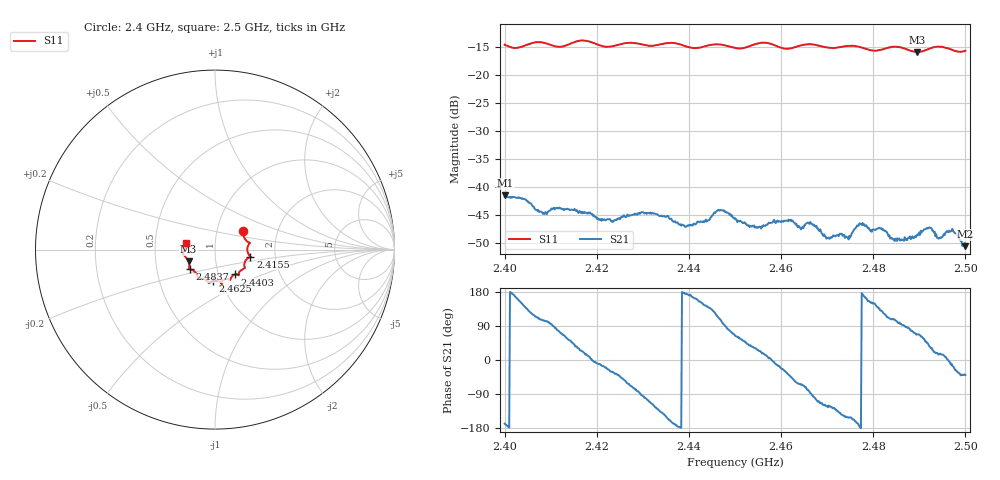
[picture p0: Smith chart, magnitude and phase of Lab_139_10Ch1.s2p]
# Hz S RI R 50
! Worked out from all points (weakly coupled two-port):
!   601 points, 2.4 GHz to 2.5 GHz, reference 50 ohm
!   highest |S21| = -41.43 dB at 2.4002 GHz (marker M1); lowest = -50.5 dB at 2.5 GHz (marker M2)
!   lowest |S11| = -15.8 dB at 2.4895 GHz (marker M3), VSWR 1.39, Z = 36.9 - j4.98 ohm
!   |S11| at or under -10 dB: start of sweep to end of sweep
!   S12 and S22 are empty: the file has one direction only
!   S11 on the Smith chart (normalised r, x): 2.4 GHz: 1.33, +0.29; 2.4155 GHz: 1.49, -0.12; 2.4403 GHz: 1.20, -0.34; 2.4625 GHz: 0.92, -0.33; 2.4837 GHz: 0.74, -0.17; 2.5 GHz: 0.72, +0.06
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2.4e9  0.1562 0.1047  -0.00805 -0.00172  0 0  0 0
2.400167e9  0.156 0.1024  -0.00835 -0.00149  0 0  0 0
2.408667e9  0.1923 0.0344  -0.00132 0.00565  0 0  0 0
2.4155e9  0.1971 -0.0387  0.00498 0.00364  0 0  0 0
2.416667e9  0.2008 -0.0424  0.00551 0.0025  0 0  0 0
2.4235e9  0.1634 -0.0814  0.00416 -0.00263  0 0  0 0
2.433333e9  0.1323 -0.1333  -0.00375 -0.00425  0 0  0 0
2.440333e9  0.1106 -0.1385  -0.00454 0.000645  0 0  0 0
2.446667e9  0.0844 -0.1692  -0.002 0.00589  0 0  0 0
2.45e9  0.0639 -0.164  0.00226 0.0048  0 0  0 0
2.455167e9  0.0367 -0.1906  0.00406 0.00181  0 0  0 0
2.4625e9  -0.0116 -0.1759  0.00331 -0.00383  0 0  0 0
2.466667e9  -0.0345 -0.1864  -0.000213 -0.00471  0 0  0 0
2.470167e9  -0.0505 -0.1696  -0.00202 -0.00292  0 0  0 0
2.474667e9  -0.0901 -0.1602  -0.00304 -0.00159  0 0  0 0
2.4775e9  -0.098 -0.148  -0.00462 0.000285  0 0  0 0
2.483333e9  -0.1393 -0.1098  -0.00136 0.0034  0 0  0 0
2.483667e9  -0.1412 -0.1096  -0.00113 0.00331  0 0  0 0
2.4895e9  -0.1476 -0.0659  0.00141 0.0035  0 0  0 0
2.492e9  -0.1682 -0.036  0.00331 0.00282  0 0  0 0
2.497e9  -0.1697 -0.00524  0.00404 -0.000706  0 0  0 0
2.5e9  -0.1612 0.0393  0.0023 -0.00191  0 0  0 0
